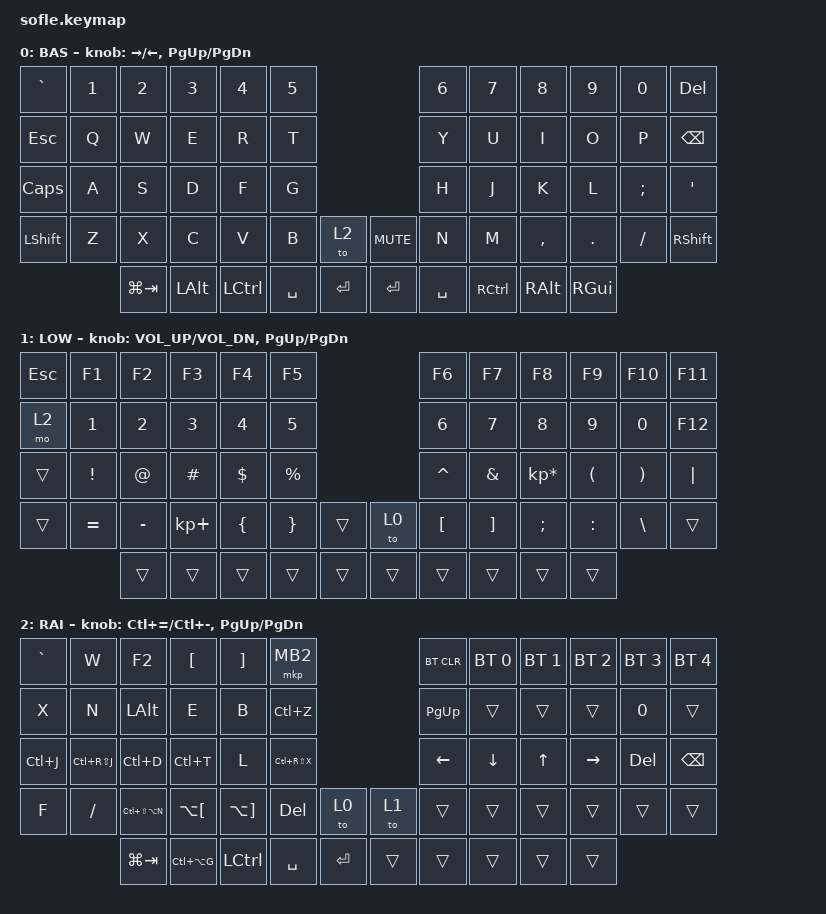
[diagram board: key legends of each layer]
/*
 * Copyright (c) 2020 The ZMK Contributors
 *
 * SPDX-License-Identifier: MIT
 */

#include <behaviors.dtsi>
#include <dt-bindings/zmk/bt.h>
#include <dt-bindings/zmk/keys.h>
#include <dt-bindings/zmk/pointing.h>

/ {
    keymap {
        compatible = "zmk,keymap";

        default_layer {
            display-name = "BAS";

            // ------------------------------------------------------------------------------------------------------------
            // |  `    |  1  |  2  |  3   |  4   |  5   |                   |  6   |  7    |  8    |  9   |   0   |       |
            // |  ESC  |  Q  |  W  |  E   |  R   |  T   |                   |  Y   |  U    |  I    |  O   |   P   | BKSPC |
            // |  TAB  |  A  |  S  |  D   |  F   |  G   |                   |  H   |  J    |  K    |  L   |   ;   |   '   |
            // | SHIFT |  Z  |  X  |  C   |  V   |  B   |  MUTE  |  |       |  N   |  M    |  ,    |  .   |   /   | SHIFT |
            //               | GUI | ALT  | CTRL | LOWER|  ENTER |  | SPACE | RAISE| CTRL  | ALT   | GUI  |

            bindings = <
&kp GRAVE       &kp N1  &kp N2       &kp N3    &kp N4     &kp N5                            &kp N6     &kp N7     &kp N8     &kp N9    &kp N0    &kp DELETE
&kp ESC         &kp Q   &kp W        &kp E     &kp R      &kp T                             &kp Y      &kp U      &kp I      &kp O     &kp P     &kp BSPC
&kp CAPSLOCK    &kp A   &kp S        &kp D     &kp F      &kp G                             &kp H      &kp J      &kp K      &kp L     &kp SEMI  &kp SQT
&kp LEFT_SHIFT  &kp Z   &kp X        &kp C     &kp V      &kp B      &to 2      &kp C_MUTE  &kp N      &kp M      &kp COMMA  &kp DOT   &kp FSLH  &kp RSHFT
                        &kp LG(TAB)  &kp LALT  &kp LCTRL  &kp SPACE  &kp RET    &kp ENTER   &kp SPACE  &kp RCTRL  &kp RALT   &kp RGUI
            >;

            sensor-bindings =
                <&inc_dec_kp RIGHT LEFT_ARROW>,
                <&inc_dec_kp PG_UP PG_DN>;
        };

        lower_layer {
            display-name = "LOW";

            // ------------------------------------------------------------------------------------------------------------
            // | `     |  F1 |  F2 |  F3  |  F4  |  F5  |                   |  F6  |  F7   |  F8   |  F9  |  F10  |  F11  |
            // | RAISE |   1 |   2 |   3  |   4  |   5  |                   |   6  |   7   |   8   |   9  |    0  |  F12  |
            // |       |  !  |  @  |  #   |  $   |  %   |                   |  ^   |  &    |  *    |  (   |   )   |   |   |
            // |       |  =  |  -  |  +   |  {   |  }   |        |  |       |  [   |  ]    |  ;    |  :   |   \   |       |
            //               |     |      |      |      |        |  |       |      |       |       |      |

            bindings = <
&kp ESC  &kp F1     &kp F2     &kp F3       &kp F4    &kp F5                       &kp F6     &kp F7    &kp F8           &kp F9     &kp F10   &kp F11
&mo 2    &kp N1     &kp N2     &kp N3       &kp N4    &kp N5                       &kp N6     &kp N7    &kp N8           &kp N9     &kp N0    &kp F12
&trans   &kp EXCL   &kp AT     &kp HASH     &kp DLLR  &kp PRCNT                    &kp CARET  &kp AMPS  &kp KP_MULTIPLY  &kp LPAR   &kp RPAR  &kp PIPE
&trans   &kp EQUAL  &kp MINUS  &kp KP_PLUS  &kp LBRC  &kp RBRC   &trans    &to 0   &kp LBKT   &kp RBKT  &kp SEMI         &kp COLON  &kp BSLH  &trans
                    &trans     &trans       &trans    &trans     &trans    &trans  &trans     &trans    &trans           &trans
            >;

            sensor-bindings = <&inc_dec_kp C_VOL_UP C_VOL_DN &inc_dec_kp PG_UP PG_DN>;
        };

        raise_layer {
            display-name = "RAI";

            // ------------------------------------------------------------------------------------------------------------
            // |BTCLR| BT1  | BT2  |  BT3  |  BT4  |  BT5 |                |      |      |       |      |       |       |
            // |     | INS  | PSCR | GUI   |       |      |                | PGUP |      |       |      |       |       |
            // |     | ALT  | CTRL | SHIFT |       | CAPS |                |  <-  |   v  |   ^   |  ->  |  DEL  | BKSPC |
            // |     | UNDO | CUT  | COPY  | PASTE |      |      |  |      |      |      |       |      |       |       |
            //              |      |       |       |      |      |  |      |      |      |       |      |

            bindings = <
&kp GRAVE  &kp W          &kp F2             &kp LEFT_BRACKET      &kp RIGHT_BRACKET      &mkp MB2                            &bt BT_CLR  &bt BT_SEL 0  &bt BT_SEL 1  &bt BT_SEL 2  &bt BT_SEL 3  &bt BT_SEL 4
&kp X      &kp N          &kp LEFT_ALT       &kp E                 &kp B                  &kp LC(Z)                           &kp PG_UP   &trans        &trans        &trans        &kp N0        &trans
&kp LC(J)  &kp LC(RS(J))  &kp LC(D)          &kp LC(T)             &kp L                  &kp LC(RS(X))                       &kp LEFT    &kp DOWN      &kp UP        &kp RIGHT     &kp DEL       &kp BSPC
&kp F      &kp FSLH       &kp LC(LS(LA(N)))  &kp LA(LEFT_BRACKET)  &kp LA(RIGHT_BRACKET)  &kp DELETE     &to 0        &to 1   &trans      &trans        &trans        &trans        &trans        &trans
                          &kp LG(TAB)        &kp LC(LA(G))         &kp LCTRL              &kp SPACE      &kp ENTER    &trans  &trans      &trans        &trans        &trans
            >;

            sensor-bindings =
                <&inc_dec_kp LC(EQUAL) LC(MINUS)>,
                <&inc_dec_kp PG_UP PG_DN>;
        };
    };
};
